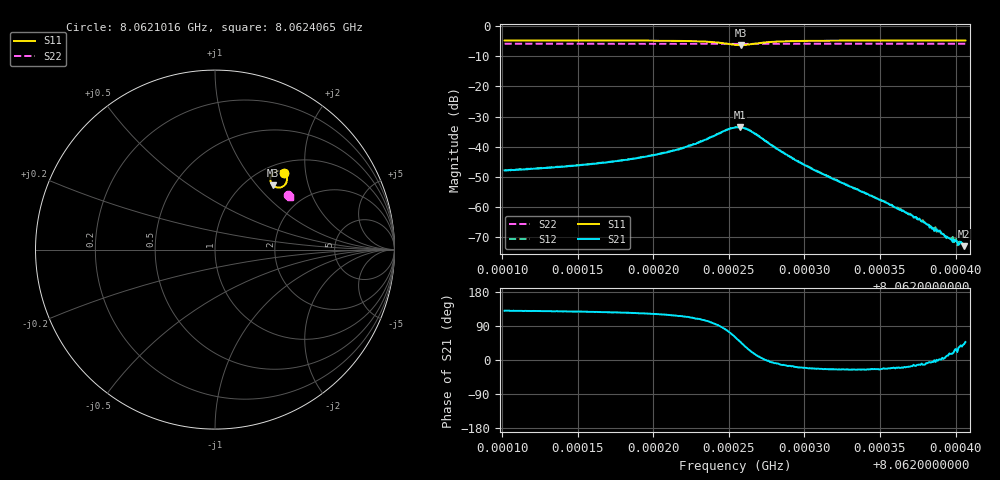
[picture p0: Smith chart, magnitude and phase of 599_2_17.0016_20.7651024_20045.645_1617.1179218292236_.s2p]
#  HZ  S  RI  R  50.00
! Rohde & Schwarz Vector Network Analyzer
! Rohde-Schwarz,ZNB20-2Port,1311601062101988,3.16
! Created: UTC 3/20/2024, 11:18:57 PM
! freq[Hz]  re:S11  im:S11  re:S21  im:S21  re:S12  im:S12  re:S22  im:S22
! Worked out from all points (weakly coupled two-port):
!   401 points, 8.0621016 GHz to 8.0624065 GHz, reference 50 ohm
!   highest |S21| = -33.50 dB at 8.0622571 GHz (marker M1); lowest = -72.9 dB at 8.0624058 GHz (marker M2)
!   lowest |S11| = -6.3 dB at 8.0622579 GHz (marker M3), VSWR 2.86, Z = 65.4 + j61 ohm
!   |S11| at or under -10 dB: nowhere
!   |S22| runs from -5.9 to -5.9 dB; largest |S21 - S12| = 0.0012
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8.0621016e9  0.384 0.4291  -0.00261 0.00311  -0.00247 0.00329  0.4066 0.3058
8.06215268e9  0.3896 0.4231  -0.00305 0.00396  -0.00282 0.00419  0.4085 0.303
8.06218318e9  0.3939 0.4169  -0.0035 0.00504  -0.00322 0.00532  0.4096 0.3013
8.06220376e9  0.3976 0.4096  -0.0039 0.00653  -0.00349 0.0068  0.4103 0.2999
8.06222587e9  0.401 0.3928  -0.00398 0.0101  -0.00331 0.0103  0.411 0.2979
8.06224264e9  0.3905 0.3621  -0.000707 0.0163  0.00039 0.0164  0.4107 0.2959
8.06225408e9  0.3433 0.3466  0.0103 0.0182  0.0113 0.0178  0.4086 0.2955
8.06225712e9  0.3266 0.3547  0.0138 0.0161  0.0146 0.0154  0.4082 0.2959
8.06225789e9  0.3228 0.3579  0.0144 0.0154  0.0153 0.0146  0.4082 0.296
8.06226399e9  0.3084 0.3901  0.0169 0.00771  0.0174 0.00677  0.408 0.2974
8.06227542e9  0.3265 0.4286  0.0119 -0.000421  0.012 -0.000981  0.4099 0.2983
8.06228991e9  0.3501 0.4379  0.00672 -0.00183  0.00659 -0.00235  0.4114 0.2977
8.06230515e9  0.3632 0.4374  0.00399 -0.00162  0.0039 -0.00191  0.4124 0.2968
8.06235623e9  0.3798 0.4311  0.00103 -0.000415  0.00101 -0.000487  0.4148 0.2939
8.06237758e9  0.3832 0.4291  0.000582 -9.52e-05  0.000554 -0.000168  0.4157 0.2925
8.06238444e9  0.3841 0.4284  0.000439 -3.94e-05  0.000459 -7.31e-05  0.4161 0.2922
8.06238825e9  0.3846 0.4281  0.000399 -1.2e-05  0.000429 -4.15e-05  0.416 0.2921
8.06239435e9  0.3854 0.4276  0.000321 6.46e-05  0.000306 2.64e-05  0.4164 0.2917
8.06239663e9  0.3856 0.4274  0.000286 8.19e-05  0.000294 6.22e-05  0.4164 0.2916
8.0624035e9  0.3864 0.4269  0.000208 0.000166  0.000235 0.000121  0.4166 0.2911
8.06240578e9  0.3865 0.4267  0.000168 0.000153  0.000185 0.000131  0.4167 0.2911
8.06240654e9  0.3868 0.4266  0.000166 0.000181  0.000173 0.000148  0.4169 0.291
